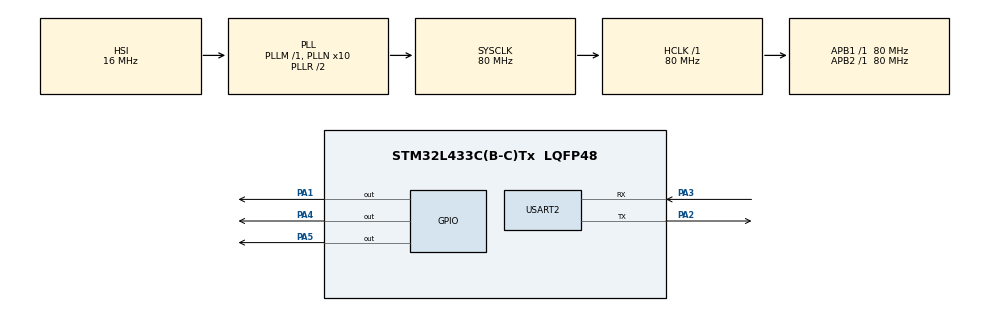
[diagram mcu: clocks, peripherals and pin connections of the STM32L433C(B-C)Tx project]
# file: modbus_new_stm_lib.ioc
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Mcu.Family=STM32L4
Mcu.Name=STM32L433C(B-C)Tx
Mcu.Package=LQFP48
NVIC.PriorityGroup=NVIC_PRIORITYGROUP_4
NVIC.USART2_IRQn=true\:0\:0\:false\:false\:true\:true\:true\:true
PA1.Signal=GPIO_Output
PA13\ (JTMS-SWDIO).Mode=Serial_Wire
PA13\ (JTMS-SWDIO).Signal=SYS_JTMS-SWDIO
PA14\ (JTCK-SWCLK).Mode=Serial_Wire
PA14\ (JTCK-SWCLK).Signal=SYS_JTCK-SWCLK
PA2.Mode=Asynchronous
PA2.Signal=USART2_TX
PA3.Mode=Asynchronous
PA3.Signal=USART2_RX
PA4.Signal=GPIO_Output
PA5.Signal=GPIO_Output
PH0-OSC_IN\ (PH0).Mode=HSE-External-Oscillator
PH0-OSC_IN\ (PH0).Signal=RCC_OSC_IN
PH1-OSC_OUT\ (PH1).Mode=HSE-External-Oscillator
PH1-OSC_OUT\ (PH1).Signal=RCC_OSC_OUT
ProjectManager.HeapSize=0x200
ProjectManager.StackSize=0x400
ProjectManager.TargetToolchain=STM32CubeIDE
RCC.ADCFreq_Value=64000000
RCC.AHBFreq_Value=80000000
RCC.APB1Freq_Value=80000000
RCC.APB1TimFreq_Value=80000000
RCC.APB2Freq_Value=80000000
RCC.APB2TimFreq_Value=80000000
RCC.CortexFreq_Value=80000000
RCC.HCLKFreq_Value=80000000
RCC.HSE_VALUE=8000000
RCC.HSI48_VALUE=48000000
RCC.HSI_VALUE=16000000
RCC.LSE_VALUE=32768
RCC.MSI_VALUE=4000000
RCC.PLLN=10
RCC.PLLSourceVirtual=RCC_PLLSOURCE_HSI
RCC.SYSCLKFreq_VALUE=80000000
RCC.SYSCLKSource=RCC_SYSCLKSOURCE_PLLCLK
RCC.USBFreq_Value=64000000
RCC.VCOOutputFreq_Value=160000000
USART2.VirtualMode-Asynchronous=VM_ASYNC
board=custom

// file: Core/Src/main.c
/* USER CODE BEGIN Header */
/**
  ******************************************************************************
  * @file           : main.c
  * @brief          : Main program body
  ******************************************************************************
  * @attention
  *
  * Copyright (c) 2023 STMicroelectronics.
  * All rights reserved.
  *
  * This software is licensed under terms that can be found in the LICENSE file
  * in the root directory of this software component.
  * If no LICENSE file comes with this software, it is provided AS-IS.
  *
  ******************************************************************************
  */
/* USER CODE END Header */
#include "main.h"

/* USER CODE BEGIN Includes */
#include "UartRingbuffer.h"
#include "MODBUS_FUN.h"
#include<stdio.h>
#include "modbusSlave.h"                  //for slave
/* USER CODE END Includes */

UART_HandleTypeDef huart2;

void SystemClock_Config(void);
static void MX_GPIO_Init(void);
static void MX_USART2_UART_Init(void);

/* USER CODE BEGIN 0 */
int _write(int file, char *ptr, int len)
{
  int i=0;
  for(i=0 ; i<len ; i++)
    ITM_SendChar((*ptr++));
  return len;
}

/// STM32 as a slave//

uint8_t RxDData[100];
uint8_t TxData[100];

//void HAL_UART_RxCpltCallback(UART_HandleTypeDef *huart, uint16_t Size)
void HAL_UARTEx_RxEventCallback(UART_HandleTypeDef *huart, uint16_t Size)
{
	if (RxDData[0] == SLAVE_ID)
	{
		switch (RxDData[1]){
		case 0x03:
			readHoldingRegs();
			break;
		case 0x04:
			readInputRegs();
			break;
		case 0x01:
			readCoils();
			break;
		case 0x02:
			readInputs();
			break;
		case 0x06:
			writeSingleReg();
			break;
		case 0x10:
			writeHoldingRegs();
			break;
		default:
			modbusException(ILLEGAL_FUNCTION);
			break;
		}
	}
	//HAL_UART_Receive_IT(&huart2, RxDData, 256);

	HAL_UARTEx_ReceiveToIdle_IT(&huart2, RxDData, 100);

	HAL_Delay(1000);
}
/* USER CODE END 0 */

int main(void)
{

  /* MCU Configuration--------------------------------------------------------*/

  /* Reset of all peripherals, Initializes the Flash interface and the Systick. */
  HAL_Init();

  /* Configure the system clock */
  SystemClock_Config();

  /* Initialize all configured peripherals */
  MX_GPIO_Init();
  MX_USART2_UART_Init();
  /* USER CODE BEGIN 2 */
 // printf("hello\n");
  //uint8_t RxData[50];
  //unsigned char Data1;
  //unsigned char Data2[100];

  unsigned char *RxData;
  Ringbuf_init();

  //////////////////////
  HAL_UARTEx_ReceiveToIdle_IT(&huart2, RxDData, 256); //STM32 AS A SLAVE

  //////////////////

  /* USER CODE END 2 */

  /* Infinite loop */
  /* USER CODE BEGIN WHILE */
  while (1)
  {
	  HAL_UARTEx_ReceiveToIdle_IT(&huart2, RxDData, 256); //STM32 AS A SLAVE
    /* USER CODE END WHILE */

    /* USER CODE BEGIN 3 */
	  //printf("hello\n");
	  //HAL_Delay(1000);

	//MODBUS_FARME_PROCESS(100,100);       //1,1

    //******************************************************************
	//*master code*//

	//mmodbus_writeCoil(11,5,1);                    //done       //funcode=5
    //mmodbus_writeHoldingRegister16i(11,5,1);      // doned   //funcode=6
	//mmodbus_writeHoldingRegisters16i(11,1,3,RxData);//done   //funcode=16

   // mmodbus_readHoldingRegisters8i(11,1,3,RxData);     //done    funcode=3
	//mmodbus_readDiscreteInputs(11,0,16,RxData);       //done   funcode=2
	//mmodbus_readInputRegisters8i(11,0,2,RxData);    // done 5   funcode=4
	//mmodbus_readCoils(11,0,10,RxData);               //done  funcode=1
	 HAL_Delay(2000);
     //**************************************************************************************
  }
  /* USER CODE END 3 */
}

void SystemClock_Config(void)
{
  RCC_OscInitTypeDef RCC_OscInitStruct = {0};
  RCC_ClkInitTypeDef RCC_ClkInitStruct = {0};

  /** Configure the main internal regulator output voltage
  */
  if (HAL_PWREx_ControlVoltageScaling(PWR_REGULATOR_VOLTAGE_SCALE1) != HAL_OK)
  {
    Error_Handler();
  }

  /** Initializes the RCC Oscillators according to the specified parameters
  * in the RCC_OscInitTypeDef structure.
  */
  RCC_OscInitStruct.OscillatorType = RCC_OSCILLATORTYPE_HSI;
  RCC_OscInitStruct.HSIState = RCC_HSI_ON;
  RCC_OscInitStruct.HSICalibrationValue = RCC_HSICALIBRATION_DEFAULT;
  RCC_OscInitStruct.PLL.PLLState = RCC_PLL_ON;
  RCC_OscInitStruct.PLL.PLLSource = RCC_PLLSOURCE_HSI;
  RCC_OscInitStruct.PLL.PLLM = 1;
  RCC_OscInitStruct.PLL.PLLN = 10;
  RCC_OscInitStruct.PLL.PLLP = RCC_PLLP_DIV7;
  RCC_OscInitStruct.PLL.PLLQ = RCC_PLLQ_DIV2;
  RCC_OscInitStruct.PLL.PLLR = RCC_PLLR_DIV2;
  if (HAL_RCC_OscConfig(&RCC_OscInitStruct) != HAL_OK)
  {
    Error_Handler();
  }

  /** Initializes the CPU, AHB and APB buses clocks
  */
  RCC_ClkInitStruct.ClockType = RCC_CLOCKTYPE_HCLK|RCC_CLOCKTYPE_SYSCLK
                              |RCC_CLOCKTYPE_PCLK1|RCC_CLOCKTYPE_PCLK2;
  RCC_ClkInitStruct.SYSCLKSource = RCC_SYSCLKSOURCE_PLLCLK;
  RCC_ClkInitStruct.AHBCLKDivider = RCC_SYSCLK_DIV1;
  RCC_ClkInitStruct.APB1CLKDivider = RCC_HCLK_DIV1;
  RCC_ClkInitStruct.APB2CLKDivider = RCC_HCLK_DIV1;

  if (HAL_RCC_ClockConfig(&RCC_ClkInitStruct, FLASH_LATENCY_4) != HAL_OK)
  {
    Error_Handler();
  }
}

static void MX_USART2_UART_Init(void)
{

  huart2.Instance = USART2;
  huart2.Init.BaudRate = 115200;
  huart2.Init.WordLength = UART_WORDLENGTH_8B;
  huart2.Init.StopBits = UART_STOPBITS_1;
  huart2.Init.Parity = UART_PARITY_NONE;
  huart2.Init.Mode = UART_MODE_TX_RX;
  huart2.Init.HwFlowCtl = UART_HWCONTROL_NONE;
  huart2.Init.OverSampling = UART_OVERSAMPLING_16;
  huart2.Init.OneBitSampling = UART_ONE_BIT_SAMPLE_DISABLE;
  huart2.AdvancedInit.AdvFeatureInit = UART_ADVFEATURE_NO_INIT;
  if (HAL_UART_Init(&huart2) != HAL_OK)
  {
    Error_Handler();
  }

}

static void MX_GPIO_Init(void)
{
  GPIO_InitTypeDef GPIO_InitStruct = {0};

  /* GPIO Ports Clock Enable */
  __HAL_RCC_GPIOH_CLK_ENABLE();
  __HAL_RCC_GPIOA_CLK_ENABLE();

  /*Configure GPIO pin Output Level */
  HAL_GPIO_WritePin(GPIOA, GPIO_PIN_1|GPIO_PIN_4|GPIO_PIN_5, GPIO_PIN_RESET);

  /*Configure GPIO pins : PA1 PA4 PA5 */
  GPIO_InitStruct.Pin = GPIO_PIN_1|GPIO_PIN_4|GPIO_PIN_5;
  GPIO_InitStruct.Mode = GPIO_MODE_OUTPUT_PP;
  GPIO_InitStruct.Pull = GPIO_NOPULL;
  GPIO_InitStruct.Speed = GPIO_SPEED_FREQ_LOW;
  HAL_GPIO_Init(GPIOA, &GPIO_InitStruct);

}

void Error_Handler(void)
{
  __disable_irq();
  while (1)
  {
  }
}
